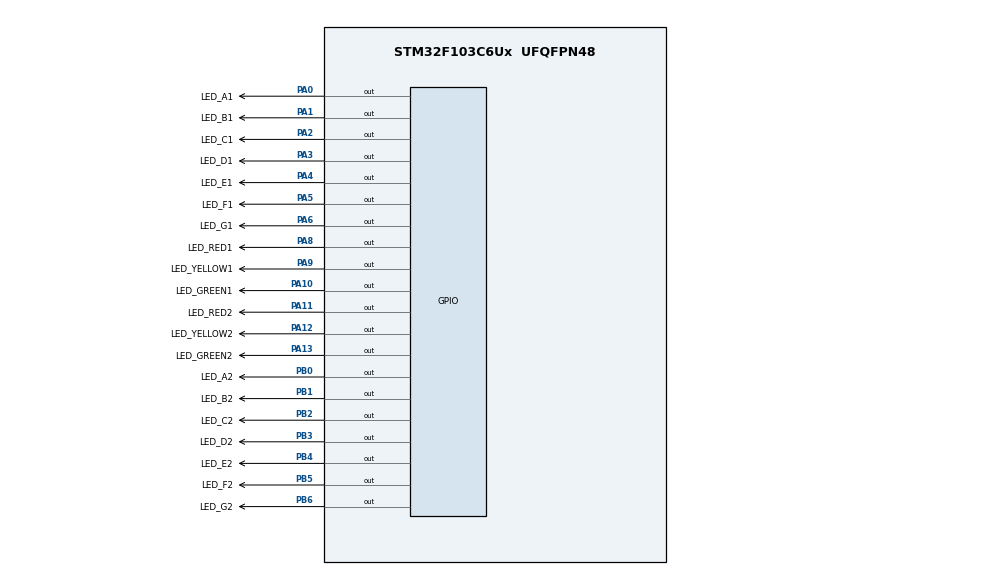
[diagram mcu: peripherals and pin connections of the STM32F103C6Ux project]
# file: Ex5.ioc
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Mcu.Family=STM32F1
Mcu.Name=STM32F103C6Ux
Mcu.Package=UFQFPN48
NVIC.PriorityGroup=NVIC_PRIORITYGROUP_4
PA0-WKUP.GPIO_Label=LED_A1
PA0-WKUP.Signal=GPIO_Output
PA1.GPIO_Label=LED_B1
PA1.Signal=GPIO_Output
PA10.GPIO_Label=LED_GREEN1
PA10.Signal=GPIO_Output
PA11.GPIO_Label=LED_RED2
PA11.Signal=GPIO_Output
PA12.GPIO_Label=LED_YELLOW2
PA12.Signal=GPIO_Output
PA13.GPIO_Label=LED_GREEN2
PA13.Signal=GPIO_Output
PA2.GPIO_Label=LED_C1
PA2.Signal=GPIO_Output
PA3.GPIO_Label=LED_D1
PA3.Signal=GPIO_Output
PA4.GPIO_Label=LED_E1
PA4.Signal=GPIO_Output
PA5.GPIO_Label=LED_F1
PA5.Signal=GPIO_Output
PA6.GPIO_Label=LED_G1
PA6.Signal=GPIO_Output
PA8.GPIO_Label=LED_RED1
PA8.Signal=GPIO_Output
PA9.GPIO_Label=LED_YELLOW1
PA9.Signal=GPIO_Output
PB0.GPIO_Label=LED_A2
PB0.Signal=GPIO_Output
PB1.GPIO_Label=LED_B2
PB1.Signal=GPIO_Output
PB2.GPIO_Label=LED_C2
PB2.Signal=GPIO_Output
PB3.GPIO_Label=LED_D2
PB3.Signal=GPIO_Output
PB4.GPIO_Label=LED_E2
PB4.Signal=GPIO_Output
PB5.GPIO_Label=LED_F2
PB5.Signal=GPIO_Output
PB6.GPIO_Label=LED_G2
PB6.Signal=GPIO_Output
ProjectManager.HeapSize=0x200
ProjectManager.StackSize=0x400
ProjectManager.TargetToolchain=STM32CubeIDE
RCC.APB1Freq_Value=8000000
RCC.APB2Freq_Value=8000000
VP_SYS_VS_ND.Mode=No_Debug
board=custom

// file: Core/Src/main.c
/* USER CODE BEGIN Header */
/**
  ******************************************************************************
  * @file           : main.c
  * @brief          : Main program body
  ******************************************************************************
  * @attention
  *
  * <h2><center>&copy; Copyright (c) 2023 STMicroelectronics.
  * All rights reserved.</center></h2>
  *
  * This software component is licensed by ST under BSD 3-Clause license,
  * the "License"; You may not use this file except in compliance with the
  * License. You may obtain a copy of the License at:
  *                        opensource.org/licenses/BSD-3-Clause
  *
  ******************************************************************************
  */
/* USER CODE END Header */
#include "main.h"

void SystemClock_Config(void);
static void MX_GPIO_Init(void);

int main(void)
{

  /* MCU Configuration--------------------------------------------------------*/

  /* Reset of all peripherals, Initializes the Flash interface and the Systick. */
  HAL_Init();

  /* Configure the system clock */
  SystemClock_Config();

  /* Initialize all configured peripherals */
  MX_GPIO_Init();

  /* Infinite loop */
  /* USER CODE BEGIN WHILE */
  void display7SEG (int num){
  	  HAL_GPIO_WritePin(LED_A1_GPIO_Port, LED_A1_Pin, RESET);
  	  HAL_GPIO_WritePin(LED_B1_GPIO_Port, LED_B1_Pin, RESET);
  	  HAL_GPIO_WritePin(LED_C1_GPIO_Port, LED_C1_Pin, RESET);
  	  HAL_GPIO_WritePin(LED_D1_GPIO_Port, LED_D1_Pin, RESET);
  	  HAL_GPIO_WritePin(LED_E1_GPIO_Port, LED_E1_Pin, RESET);
  	  HAL_GPIO_WritePin(LED_F1_GPIO_Port, LED_F1_Pin, RESET);
  	  HAL_GPIO_WritePin(LED_G1_GPIO_Port, LED_G1_Pin, RESET);
  	  if (num == 0){
  		  HAL_GPIO_WritePin(LED_G1_GPIO_Port, LED_G1_Pin, SET);
  	  }
  	  else if (num == 1){
  		  HAL_GPIO_WritePin(LED_A1_GPIO_Port, LED_A1_Pin, SET);
  		  HAL_GPIO_WritePin(LED_D1_GPIO_Port, LED_D1_Pin, SET);
  		  HAL_GPIO_WritePin(LED_E1_GPIO_Port, LED_E1_Pin, SET);
  		  HAL_GPIO_WritePin(LED_F1_GPIO_Port, LED_F1_Pin, SET);
  		  HAL_GPIO_WritePin(LED_G1_GPIO_Port, LED_G1_Pin, SET);
  	  }
  	  else if (num == 2){
  		  HAL_GPIO_WritePin(LED_C1_GPIO_Port, LED_C1_Pin, SET);
  		  HAL_GPIO_WritePin(LED_F1_GPIO_Port, LED_F1_Pin, SET);
  	  }
  	  else if (num == 3){
  		  HAL_GPIO_WritePin(LED_E1_GPIO_Port, LED_E1_Pin, SET);
  		  HAL_GPIO_WritePin(LED_F1_GPIO_Port, LED_F1_Pin, SET);
  	  }
  	  else if (num == 4){
  		  HAL_GPIO_WritePin(LED_A1_GPIO_Port, LED_A1_Pin, SET);
  		  HAL_GPIO_WritePin(LED_D1_GPIO_Port, LED_D1_Pin, SET);
  		  HAL_GPIO_WritePin(LED_E1_GPIO_Port, LED_E1_Pin, SET);
  	  }
  	  else if (num == 5){
  		  HAL_GPIO_WritePin(LED_B1_GPIO_Port, LED_B1_Pin, SET);
  		  HAL_GPIO_WritePin(LED_E1_GPIO_Port, LED_E1_Pin, SET);
  	  }
  	  else if (num == 6){
  		  HAL_GPIO_WritePin(LED_B1_GPIO_Port, LED_B1_Pin, SET);
  	  }
  	  else if (num == 7){
  		  HAL_GPIO_WritePin(LED_D1_GPIO_Port, LED_D1_Pin, SET);
  		  HAL_GPIO_WritePin(LED_E1_GPIO_Port, LED_E1_Pin, SET);
  		  HAL_GPIO_WritePin(LED_F1_GPIO_Port, LED_F1_Pin, SET);
  		  HAL_GPIO_WritePin(LED_G1_GPIO_Port, LED_G1_Pin, SET);
  	  }
  	  else if (num == 8){

  	  }
  	  else if (num == 9){
  		  HAL_GPIO_WritePin(LED_E1_GPIO_Port, LED_E1_Pin, SET);
  	  }
    }
  void display7SEG2 (int num){
  	  HAL_GPIO_WritePin(LED_A2_GPIO_Port, LED_A2_Pin, RESET);
  	  HAL_GPIO_WritePin(LED_B2_GPIO_Port, LED_B2_Pin, RESET);
  	  HAL_GPIO_WritePin(LED_C2_GPIO_Port, LED_C2_Pin, RESET);
  	  HAL_GPIO_WritePin(LED_D2_GPIO_Port, LED_D2_Pin, RESET);
  	  HAL_GPIO_WritePin(LED_E2_GPIO_Port, LED_E2_Pin, RESET);
  	  HAL_GPIO_WritePin(LED_F2_GPIO_Port, LED_F2_Pin, RESET);
  	  HAL_GPIO_WritePin(LED_G2_GPIO_Port, LED_G2_Pin, RESET);
  	  if (num == 0){
  		  HAL_GPIO_WritePin(LED_G2_GPIO_Port, LED_G2_Pin, SET);
  	  }
  	  else if (num == 1){
  		  HAL_GPIO_WritePin(LED_A2_GPIO_Port, LED_A2_Pin, SET);
  		  HAL_GPIO_WritePin(LED_D2_GPIO_Port, LED_D2_Pin, SET);
  		  HAL_GPIO_WritePin(LED_E2_GPIO_Port, LED_E2_Pin, SET);
  		  HAL_GPIO_WritePin(LED_F2_GPIO_Port, LED_F2_Pin, SET);
  		  HAL_GPIO_WritePin(LED_G2_GPIO_Port, LED_G2_Pin, SET);
  	  }
  	  else if (num == 2){
  		  HAL_GPIO_WritePin(LED_C2_GPIO_Port, LED_C2_Pin, SET);
  		  HAL_GPIO_WritePin(LED_F2_GPIO_Port, LED_F2_Pin, SET);
  	  }
  	  else if (num == 3){
  		  HAL_GPIO_WritePin(LED_E2_GPIO_Port, LED_E2_Pin, SET);
  		  HAL_GPIO_WritePin(LED_F2_GPIO_Port, LED_F2_Pin, SET);
  	  }
  	  else if (num == 4){
  		  HAL_GPIO_WritePin(LED_A2_GPIO_Port, LED_A2_Pin, SET);
  		  HAL_GPIO_WritePin(LED_D2_GPIO_Port, LED_D2_Pin, SET);
  		  HAL_GPIO_WritePin(LED_E2_GPIO_Port, LED_E2_Pin, SET);
  	  }
  	  else if (num == 5){
  		  HAL_GPIO_WritePin(LED_B2_GPIO_Port, LED_B2_Pin, SET);
  		  HAL_GPIO_WritePin(LED_E2_GPIO_Port, LED_E2_Pin, SET);
  	  }
  	  else if (num == 6){
  		  HAL_GPIO_WritePin(LED_B2_GPIO_Port, LED_B2_Pin, SET);
  	  }
  	  else if (num == 7){
  		  HAL_GPIO_WritePin(LED_D2_GPIO_Port, LED_D2_Pin, SET);
  		  HAL_GPIO_WritePin(LED_E2_GPIO_Port, LED_E2_Pin, SET);
  		  HAL_GPIO_WritePin(LED_F2_GPIO_Port, LED_F2_Pin, SET);
  		  HAL_GPIO_WritePin(LED_G2_GPIO_Port, LED_G2_Pin, SET);
  	  }
  	  else if (num == 8){

  	  }
  	  else if (num == 9){
  		  HAL_GPIO_WritePin(LED_E2_GPIO_Port, LED_E2_Pin, SET);
  	  }
    }
  enum trafficlightState {
	  RED1_GREEN2,
	  RED1_YELLOW2,
	  GREEN1_RED2,
	  YELLOW1_RED2,
  };
  enum trafficlightState currentState = RED1_GREEN2;
  int counter = 3;
  int light = 5;
  while (1)
  {
	  HAL_GPIO_WritePin(LED_RED1_GPIO_Port, LED_RED1_Pin, RESET);
	  HAL_GPIO_WritePin(LED_RED2_GPIO_Port, LED_RED2_Pin, RESET);
	  HAL_GPIO_WritePin(LED_YELLOW1_GPIO_Port, LED_YELLOW1_Pin, RESET);
	  HAL_GPIO_WritePin(LED_YELLOW2_GPIO_Port, LED_YELLOW2_Pin, RESET);
	  HAL_GPIO_WritePin(LED_GREEN1_GPIO_Port, LED_GREEN1_Pin, RESET);
	  HAL_GPIO_WritePin(LED_GREEN2_GPIO_Port, LED_GREEN2_Pin, RESET);
	  /* if (count < 5){
		  display7SEG(4 - count);
		  HAL_GPIO_WritePin(LED_RED1_GPIO_Port, LED_RED1_Pin, SET);
		  if (count < 3){
			  HAL_GPIO_WritePin(LED_GREEN2_GPIO_Port, LED_GREEN2_Pin, SET);
			  display7SEG2(2 - count);
		  }
		  else {
			  HAL_GPIO_WritePin(LED_YELLOW2_GPIO_Port, LED_YELLOW2_Pin, SET);
			  display7SEG2(4 - count);
		  }
		  count++;
	  }
	  else if (count >= 5 && count < 8){
		  display7SEG(7 - count);
		  display7SEG2(9 - count);
		  HAL_GPIO_WritePin(LED_GREEN1_GPIO_Port, LED_GREEN1_Pin, SET);
		  HAL_GPIO_WritePin(LED_RED2_GPIO_Port, LED_RED2_Pin, SET);
		  count++;
	  }
	  else if (count >= 8 && count < 10){
		  display7SEG(9 - count);
		  display7SEG2(9 - count);
		  HAL_GPIO_WritePin(LED_YELLOW1_GPIO_Port, LED_YELLOW1_Pin, SET);
		  HAL_GPIO_WritePin(LED_RED2_GPIO_Port, LED_RED2_Pin, SET);
		  count++;
	  }
	  else {
		  display7SEG(4);
		  display7SEG2(2);
		  HAL_GPIO_WritePin(LED_RED1_GPIO_Port, LED_RED1_Pin, SET);
		  HAL_GPIO_WritePin(LED_GREEN2_GPIO_Port, LED_GREEN2_Pin, SET);
		  count = 0;
	  } */
	  display7SEG(light);
	  display7SEG2(light);
	  switch (currentState) {
	  case RED1_GREEN2:
		  HAL_GPIO_WritePin(LED_RED1_GPIO_Port, LED_RED1_Pin, SET);
		  HAL_GPIO_WritePin(LED_GREEN2_GPIO_Port, LED_GREEN2_Pin, SET);
		  counter--;
		  light--;
		  if (counter <= 0){
			  currentState = RED1_YELLOW2;
			  counter = 2;
		  }
		  break;
	  case RED1_YELLOW2:
		  HAL_GPIO_WritePin(LED_RED1_GPIO_Port, LED_RED1_Pin, SET);
		  HAL_GPIO_WritePin(LED_YELLOW2_GPIO_Port, LED_YELLOW2_Pin, SET);
		  counter--;
		  light--;
		  if (counter <= 0){
			  currentState = GREEN1_RED2;
			  counter = 3;
			  light = 5;
		  }
		  break;
	  case GREEN1_RED2:
		  HAL_GPIO_WritePin(LED_GREEN1_GPIO_Port, LED_GREEN1_Pin, SET);
		  HAL_GPIO_WritePin(LED_RED2_GPIO_Port, LED_RED2_Pin, SET);
		  counter--;
		  light--;
		  if (counter <= 0){
			  currentState = YELLOW1_RED2;
			  counter = 2;
		  }
		  break;
	  case YELLOW1_RED2:
		  HAL_GPIO_WritePin(LED_YELLOW1_GPIO_Port, LED_YELLOW1_Pin, SET);
		  HAL_GPIO_WritePin(LED_RED2_GPIO_Port, LED_RED2_Pin, SET);
		  counter--;
		  light--;
		  if (counter <= 0){
			  currentState = RED1_GREEN2;
			  counter = 3;
			  light = 5;
		  }
		  break;
	  }
	  HAL_Delay(1000);
    /* USER CODE END WHILE */

  }
}

void SystemClock_Config(void)
{
  RCC_OscInitTypeDef RCC_OscInitStruct = {0};
  RCC_ClkInitTypeDef RCC_ClkInitStruct = {0};

  /** Initializes the RCC Oscillators according to the specified parameters
  * in the RCC_OscInitTypeDef structure.
  */
  RCC_OscInitStruct.OscillatorType = RCC_OSCILLATORTYPE_HSI;
  RCC_OscInitStruct.HSIState = RCC_HSI_ON;
  RCC_OscInitStruct.HSICalibrationValue = RCC_HSICALIBRATION_DEFAULT;
  RCC_OscInitStruct.PLL.PLLState = RCC_PLL_NONE;
  if (HAL_RCC_OscConfig(&RCC_OscInitStruct) != HAL_OK)
  {
    Error_Handler();
  }
  /** Initializes the CPU, AHB and APB buses clocks
  */
  RCC_ClkInitStruct.ClockType = RCC_CLOCKTYPE_HCLK|RCC_CLOCKTYPE_SYSCLK
                              |RCC_CLOCKTYPE_PCLK1|RCC_CLOCKTYPE_PCLK2;
  RCC_ClkInitStruct.SYSCLKSource = RCC_SYSCLKSOURCE_HSI;
  RCC_ClkInitStruct.AHBCLKDivider = RCC_SYSCLK_DIV1;
  RCC_ClkInitStruct.APB1CLKDivider = RCC_HCLK_DIV1;
  RCC_ClkInitStruct.APB2CLKDivider = RCC_HCLK_DIV1;

  if (HAL_RCC_ClockConfig(&RCC_ClkInitStruct, FLASH_LATENCY_0) != HAL_OK)
  {
    Error_Handler();
  }
}

static void MX_GPIO_Init(void)
{
  GPIO_InitTypeDef GPIO_InitStruct = {0};

  /* GPIO Ports Clock Enable */
  __HAL_RCC_GPIOA_CLK_ENABLE();
  __HAL_RCC_GPIOB_CLK_ENABLE();

  /*Configure GPIO pin Output Level */
  HAL_GPIO_WritePin(GPIOA, LED_A1_Pin|LED_B1_Pin|LED_C1_Pin|LED_D1_Pin
                          |LED_E1_Pin|LED_F1_Pin|LED_G1_Pin|LED_RED1_Pin
                          |LED_YELLOW1_Pin|LED_GREEN1_Pin|LED_RED2_Pin|LED_YELLOW2_Pin
                          |LED_GREEN2_Pin, GPIO_PIN_RESET);

  /*Configure GPIO pin Output Level */
  HAL_GPIO_WritePin(GPIOB, LED_A2_Pin|LED_B2_Pin|LED_C2_Pin|LED_D2_Pin
                          |LED_E2_Pin|LED_F2_Pin|LED_G2_Pin, GPIO_PIN_RESET);

  /*Configure GPIO pins : LED_A1_Pin LED_B1_Pin LED_C1_Pin LED_D1_Pin
                           LED_E1_Pin LED_F1_Pin LED_G1_Pin LED_RED1_Pin
                           LED_YELLOW1_Pin LED_GREEN1_Pin LED_RED2_Pin LED_YELLOW2_Pin
                           LED_GREEN2_Pin */
  GPIO_InitStruct.Pin = LED_A1_Pin|LED_B1_Pin|LED_C1_Pin|LED_D1_Pin
                          |LED_E1_Pin|LED_F1_Pin|LED_G1_Pin|LED_RED1_Pin
                          |LED_YELLOW1_Pin|LED_GREEN1_Pin|LED_RED2_Pin|LED_YELLOW2_Pin
                          |LED_GREEN2_Pin;
  GPIO_InitStruct.Mode = GPIO_MODE_OUTPUT_PP;
  GPIO_InitStruct.Pull = GPIO_NOPULL;
  GPIO_InitStruct.Speed = GPIO_SPEED_FREQ_LOW;
  HAL_GPIO_Init(GPIOA, &GPIO_InitStruct);

  /*Configure GPIO pins : LED_A2_Pin LED_B2_Pin LED_C2_Pin LED_D2_Pin
                           LED_E2_Pin LED_F2_Pin LED_G2_Pin */
  GPIO_InitStruct.Pin = LED_A2_Pin|LED_B2_Pin|LED_C2_Pin|LED_D2_Pin
                          |LED_E2_Pin|LED_F2_Pin|LED_G2_Pin;
  GPIO_InitStruct.Mode = GPIO_MODE_OUTPUT_PP;
  GPIO_InitStruct.Pull = GPIO_NOPULL;
  GPIO_InitStruct.Speed = GPIO_SPEED_FREQ_LOW;
  HAL_GPIO_Init(GPIOB, &GPIO_InitStruct);

}

void Error_Handler(void)
{
  __disable_irq();
  while (1)
  {
  }
}

/************************ (C) COPYRIGHT STMicroelectronics *****END OF FILE****/
